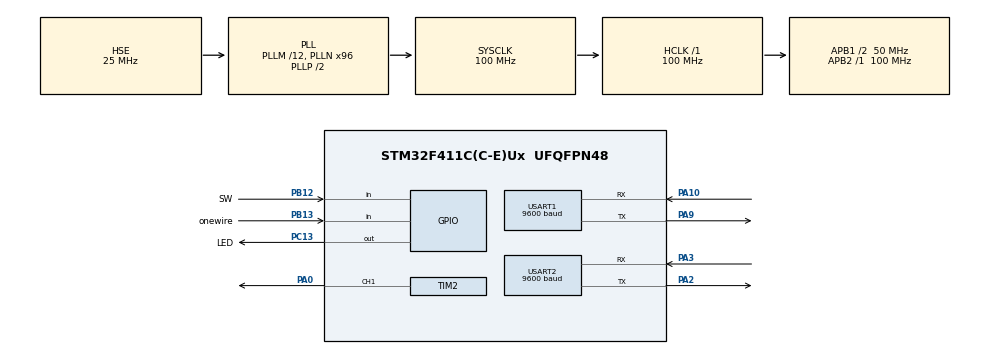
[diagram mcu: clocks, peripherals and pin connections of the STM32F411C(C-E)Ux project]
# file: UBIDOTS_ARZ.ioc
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Dma.Request0=USART1_RX
Dma.USART1_RX.0.Direction=DMA_PERIPH_TO_MEMORY
Dma.USART1_RX.0.FIFOMode=DMA_FIFOMODE_DISABLE
Dma.USART1_RX.0.Instance=DMA2_Stream2
Dma.USART1_RX.0.MemDataAlignment=DMA_MDATAALIGN_BYTE
Dma.USART1_RX.0.MemInc=DMA_MINC_ENABLE
Dma.USART1_RX.0.Mode=DMA_NORMAL
Dma.USART1_RX.0.PeriphDataAlignment=DMA_PDATAALIGN_BYTE
Dma.USART1_RX.0.PeriphInc=DMA_PINC_DISABLE
Dma.USART1_RX.0.Priority=DMA_PRIORITY_LOW
Mcu.Family=STM32F4
Mcu.Name=STM32F411C(C-E)Ux
Mcu.Package=UFQFPN48
NVIC.DMA2_Stream2_IRQn=true\:0\:0\:false\:false\:true\:false\:true\:true
NVIC.PriorityGroup=NVIC_PRIORITYGROUP_4
NVIC.USART1_IRQn=true\:0\:0\:false\:false\:true\:true\:true\:true
PA0-WKUP.Signal=S_TIM2_CH1_ETR
PA10.Mode=Asynchronous
PA10.Signal=USART1_RX
PA2.Mode=Asynchronous
PA2.Signal=USART2_TX
PA3.Mode=Asynchronous
PA3.Signal=USART2_RX
PA9.Mode=Asynchronous
PA9.Signal=USART1_TX
PB12.GPIO_Label=SW
PB12.GPIO_PuPd=GPIO_PULLDOWN
PB12.Signal=GPIO_Input
PB13.GPIO_Label=onewire
PB13.Signal=GPIO_Input
PC13-ANTI_TAMP.GPIO_Label=LED
PC13-ANTI_TAMP.Signal=GPIO_Output
PH0\ -\ OSC_IN.Mode=HSE-External-Oscillator
PH0\ -\ OSC_IN.Signal=RCC_OSC_IN
PH1\ -\ OSC_OUT.Mode=HSE-External-Oscillator
PH1\ -\ OSC_OUT.Signal=RCC_OSC_OUT
ProjectManager.HeapSize=0x200
ProjectManager.StackSize=0x400
ProjectManager.TargetToolchain=STM32CubeIDE
RCC.48MHZClocksFreq_Value=50000000
RCC.AHBFreq_Value=100000000
RCC.APB1CLKDivider=RCC_HCLK_DIV2
RCC.APB1Freq_Value=50000000
RCC.APB1TimFreq_Value=100000000
RCC.APB2Freq_Value=100000000
RCC.APB2TimFreq_Value=100000000
RCC.CortexFreq_Value=100000000
RCC.HCLKFreq_Value=100000000
RCC.HSE_VALUE=25000000
RCC.HSI_VALUE=16000000
RCC.LSE_VALUE=32768
RCC.PLLM=12
RCC.PLLN=96
RCC.PLLSourceVirtual=RCC_PLLSOURCE_HSE
RCC.SYSCLKFreq_VALUE=100000000
RCC.SYSCLKSource=RCC_SYSCLKSOURCE_PLLCLK
RCC.VCOOutputFreq_Value=200000000
SH.S_TIM2_CH1_ETR.0=TIM2_CH1,PWM Generation1 CH1
TIM2.AutoReloadPreload=TIM_AUTORELOAD_PRELOAD_ENABLE
TIM2.Channel-PWM\ Generation1\ CH1=TIM_CHANNEL_1
TIM2.Period=20000
TIM2.Prescaler=100-1
USART1.BaudRate=9600
USART1.VirtualMode=VM_ASYNC
USART2.BaudRate=9600
USART2.VirtualMode=VM_ASYNC
VP_TIM2_VS_ClockSourceINT.Mode=Internal
board=custom

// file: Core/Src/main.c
/* USER CODE BEGIN Header */
/**
  ******************************************************************************
  * @file           : main.c
  * @brief          : Main program body
  ******************************************************************************
  * @attention
  *
  * Copyright (c) 2025 STMicroelectronics.
  * All rights reserved.
  *
  * This software is licensed under terms that can be found in the LICENSE file
  * in the root directory of this software component.
  * If no LICENSE file comes with this software, it is provided AS-IS.
  *
  ******************************************************************************
  */
/* USER CODE END Header */
#include "main.h"

/* USER CODE BEGIN Includes */
#include "ds18b20.h"
#include"uart.h"
#include "pinout.h"
#include "uart_int_idle_dma.h"
#include "PWMB.h"
#include "UBIDOTS.h"

#include "stdio.h"
#include "stdint.h"
#include "stdlib.h"
#include "string.h"
/* USER CODE END Includes */

TIM_HandleTypeDef htim2;

UART_HandleTypeDef huart1;
UART_HandleTypeDef huart2;
DMA_HandleTypeDef hdma_usart1_rx;

/* USER CODE BEGIN PV */
float temperatura;
uint8_t led;
char texto[100];
/* USER CODE END PV */

void SystemClock_Config(void);
static void MX_GPIO_Init(void);
static void MX_DMA_Init(void);
static void MX_USART1_UART_Init(void);
static void MX_USART2_UART_Init(void);
static void MX_TIM2_Init(void);

/* USER CODE BEGIN 0 */
void procesa_rx()
{
	if (strstr(trama_rx,"V00=1")) PIN_OFF(LED);
	else if (strstr(trama_rx,"V00=0")) PIN_ON(LED);

	else if (strstr(trama_rx,"V01="))
	    {
	        strcpy(procesa, strtok(trama_rx, "="));  //inicia captura de tokens desde el =
	        strcpy(procesa, strtok(0, "$"));  //captura hasta el /
	        //pasa la cadena a  numero
	       uint16_t ancho=atoi(procesa);
	       PWM_valor(&PWM1, ancho);

	    }

}
/* USER CODE END 0 */

int main(void)
{

  /* MCU Configuration--------------------------------------------------------*/

  /* Reset of all peripherals, Initializes the Flash interface and the Systick. */
  HAL_Init();

  /* Configure the system clock */
  SystemClock_Config();

  /* Initialize all configured peripherals */
  MX_GPIO_Init();
  MX_DMA_Init();
  MX_USART1_UART_Init();
  MX_USART2_UART_Init();
  MX_TIM2_Init();
  /* USER CODE BEGIN 2 */
  //uartdat_it_idle_dma_init();
   uartx_write_text(&huart2, "Hola\r\n");

   // uartx_write_text(&huart1, "Hola\r\n");
         delay_Init();

         PWM_init(&PWM1);
         PWM_valor(&PWM1, 0);
         PIN_ON(LED);//APAGA EL LED
  /* USER CODE END 2 */

  /* Infinite loop */
  /* USER CODE BEGIN WHILE */
  while (1)
  {
	 temperatura=DS18b20_temp();
     led=PIN_READ(SW);

     //ARMA TRAMA DE VARIABLES
          sprintf(ubidot_var,"{\"led\": %u,\"temperatura\": %.1f}",led,temperatura);
          ubidot_tramavar_size=strlen(ubidot_var);
               //LLAMA POST
               Ubidots_POST();

               //analiza el get
                     Ubidots_GET("pwm");
                     ubidot_float= Ubidot_GET_Valor();
                     PWM_valor(&PWM1, (uint32_t)ubidot_float);

                     Ubidots_GET("suiche");
                     ubidot_float= Ubidot_GET_Valor();
                    PIN_PUT(LED,!(uint8_t)ubidot_float);

               HAL_Delay(100);
    /* USER CODE END WHILE */

  }
}

void SystemClock_Config(void)
{
  RCC_OscInitTypeDef RCC_OscInitStruct = {0};
  RCC_ClkInitTypeDef RCC_ClkInitStruct = {0};

  /** Configure the main internal regulator output voltage
  */
  __HAL_RCC_PWR_CLK_ENABLE();
  __HAL_PWR_VOLTAGESCALING_CONFIG(PWR_REGULATOR_VOLTAGE_SCALE1);

  /** Initializes the RCC Oscillators according to the specified parameters
  * in the RCC_OscInitTypeDef structure.
  */
  RCC_OscInitStruct.OscillatorType = RCC_OSCILLATORTYPE_HSE;
  RCC_OscInitStruct.HSEState = RCC_HSE_ON;
  RCC_OscInitStruct.PLL.PLLState = RCC_PLL_ON;
  RCC_OscInitStruct.PLL.PLLSource = RCC_PLLSOURCE_HSE;
  RCC_OscInitStruct.PLL.PLLM = 12;
  RCC_OscInitStruct.PLL.PLLN = 96;
  RCC_OscInitStruct.PLL.PLLP = RCC_PLLP_DIV2;
  RCC_OscInitStruct.PLL.PLLQ = 4;
  if (HAL_RCC_OscConfig(&RCC_OscInitStruct) != HAL_OK)
  {
    Error_Handler();
  }

  /** Initializes the CPU, AHB and APB buses clocks
  */
  RCC_ClkInitStruct.ClockType = RCC_CLOCKTYPE_HCLK|RCC_CLOCKTYPE_SYSCLK
                              |RCC_CLOCKTYPE_PCLK1|RCC_CLOCKTYPE_PCLK2;
  RCC_ClkInitStruct.SYSCLKSource = RCC_SYSCLKSOURCE_PLLCLK;
  RCC_ClkInitStruct.AHBCLKDivider = RCC_SYSCLK_DIV1;
  RCC_ClkInitStruct.APB1CLKDivider = RCC_HCLK_DIV2;
  RCC_ClkInitStruct.APB2CLKDivider = RCC_HCLK_DIV1;

  if (HAL_RCC_ClockConfig(&RCC_ClkInitStruct, FLASH_LATENCY_3) != HAL_OK)
  {
    Error_Handler();
  }
}

static void MX_TIM2_Init(void)
{

  TIM_ClockConfigTypeDef sClockSourceConfig = {0};
  TIM_MasterConfigTypeDef sMasterConfig = {0};
  TIM_OC_InitTypeDef sConfigOC = {0};

  htim2.Instance = TIM2;
  htim2.Init.Prescaler = 100-1;
  htim2.Init.CounterMode = TIM_COUNTERMODE_UP;
  htim2.Init.Period = 20000;
  htim2.Init.ClockDivision = TIM_CLOCKDIVISION_DIV1;
  htim2.Init.AutoReloadPreload = TIM_AUTORELOAD_PRELOAD_ENABLE;
  if (HAL_TIM_Base_Init(&htim2) != HAL_OK)
  {
    Error_Handler();
  }
  sClockSourceConfig.ClockSource = TIM_CLOCKSOURCE_INTERNAL;
  if (HAL_TIM_ConfigClockSource(&htim2, &sClockSourceConfig) != HAL_OK)
  {
    Error_Handler();
  }
  if (HAL_TIM_PWM_Init(&htim2) != HAL_OK)
  {
    Error_Handler();
  }
  sMasterConfig.MasterOutputTrigger = TIM_TRGO_RESET;
  sMasterConfig.MasterSlaveMode = TIM_MASTERSLAVEMODE_DISABLE;
  if (HAL_TIMEx_MasterConfigSynchronization(&htim2, &sMasterConfig) != HAL_OK)
  {
    Error_Handler();
  }
  sConfigOC.OCMode = TIM_OCMODE_PWM1;
  sConfigOC.Pulse = 0;
  sConfigOC.OCPolarity = TIM_OCPOLARITY_HIGH;
  sConfigOC.OCFastMode = TIM_OCFAST_DISABLE;
  if (HAL_TIM_PWM_ConfigChannel(&htim2, &sConfigOC, TIM_CHANNEL_1) != HAL_OK)
  {
    Error_Handler();
  }
  HAL_TIM_MspPostInit(&htim2);

}

static void MX_USART1_UART_Init(void)
{

  huart1.Instance = USART1;
  huart1.Init.BaudRate = 9600;
  huart1.Init.WordLength = UART_WORDLENGTH_8B;
  huart1.Init.StopBits = UART_STOPBITS_1;
  huart1.Init.Parity = UART_PARITY_NONE;
  huart1.Init.Mode = UART_MODE_TX_RX;
  huart1.Init.HwFlowCtl = UART_HWCONTROL_NONE;
  huart1.Init.OverSampling = UART_OVERSAMPLING_16;
  if (HAL_UART_Init(&huart1) != HAL_OK)
  {
    Error_Handler();
  }

}

static void MX_USART2_UART_Init(void)
{

  huart2.Instance = USART2;
  huart2.Init.BaudRate = 9600;
  huart2.Init.WordLength = UART_WORDLENGTH_8B;
  huart2.Init.StopBits = UART_STOPBITS_1;
  huart2.Init.Parity = UART_PARITY_NONE;
  huart2.Init.Mode = UART_MODE_TX_RX;
  huart2.Init.HwFlowCtl = UART_HWCONTROL_NONE;
  huart2.Init.OverSampling = UART_OVERSAMPLING_16;
  if (HAL_UART_Init(&huart2) != HAL_OK)
  {
    Error_Handler();
  }

}

static void MX_DMA_Init(void)
{

  /* DMA controller clock enable */
  __HAL_RCC_DMA2_CLK_ENABLE();

  /* DMA interrupt init */
  /* DMA2_Stream2_IRQn interrupt configuration */
  HAL_NVIC_SetPriority(DMA2_Stream2_IRQn, 0, 0);
  HAL_NVIC_EnableIRQ(DMA2_Stream2_IRQn);

}

static void MX_GPIO_Init(void)
{
  GPIO_InitTypeDef GPIO_InitStruct = {0};

  /* GPIO Ports Clock Enable */
  __HAL_RCC_GPIOC_CLK_ENABLE();
  __HAL_RCC_GPIOH_CLK_ENABLE();
  __HAL_RCC_GPIOA_CLK_ENABLE();
  __HAL_RCC_GPIOB_CLK_ENABLE();

  /*Configure GPIO pin Output Level */
  HAL_GPIO_WritePin(LED_GPIO_Port, LED_Pin, GPIO_PIN_RESET);

  /*Configure GPIO pin : LED_Pin */
  GPIO_InitStruct.Pin = LED_Pin;
  GPIO_InitStruct.Mode = GPIO_MODE_OUTPUT_PP;
  GPIO_InitStruct.Pull = GPIO_NOPULL;
  GPIO_InitStruct.Speed = GPIO_SPEED_FREQ_LOW;
  HAL_GPIO_Init(LED_GPIO_Port, &GPIO_InitStruct);

  /*Configure GPIO pin : SW_Pin */
  GPIO_InitStruct.Pin = SW_Pin;
  GPIO_InitStruct.Mode = GPIO_MODE_INPUT;
  GPIO_InitStruct.Pull = GPIO_PULLDOWN;
  HAL_GPIO_Init(SW_GPIO_Port, &GPIO_InitStruct);

  /*Configure GPIO pin : onewire_Pin */
  GPIO_InitStruct.Pin = onewire_Pin;
  GPIO_InitStruct.Mode = GPIO_MODE_INPUT;
  GPIO_InitStruct.Pull = GPIO_NOPULL;
  HAL_GPIO_Init(onewire_GPIO_Port, &GPIO_InitStruct);

}

void Error_Handler(void)
{
  __disable_irq();
  while (1)
  {
  }
}
